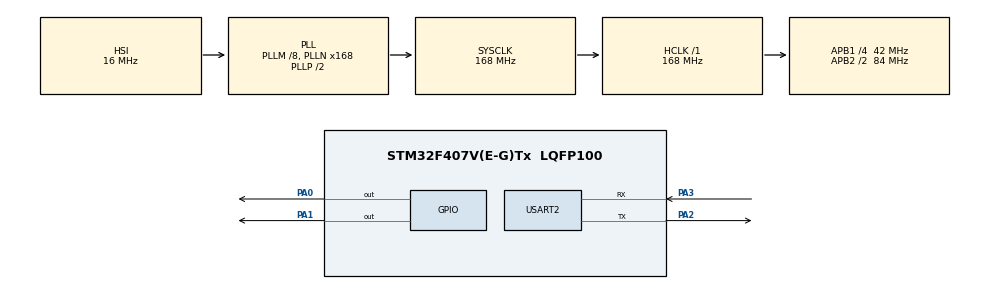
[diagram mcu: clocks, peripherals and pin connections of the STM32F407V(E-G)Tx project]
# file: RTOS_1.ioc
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FREERTOS.Tasks01=defaultTask,0,128,StartDefaultTask,Default,NULL,Dynamic,NULL,NULL;Task2,0,128,Task2_INIT,Default,NULL,Dynamic,NULL,NULL
Mcu.Family=STM32F4
Mcu.Name=STM32F407V(E-G)Tx
Mcu.Package=LQFP100
NVIC.PriorityGroup=NVIC_PRIORITYGROUP_4
NVIC.TIM1_UP_TIM10_IRQn=true\:15\:0\:false\:false\:true\:false\:false\:true
NVIC.TimeBase=TIM1_UP_TIM10_IRQn
NVIC.TimeBaseIP=TIM1
PA0-WKUP.Signal=GPIO_Output
PA1.Signal=GPIO_Output
PA2.Mode=Asynchronous
PA2.Signal=USART2_TX
PA3.Mode=Asynchronous
PA3.Signal=USART2_RX
PH0-OSC_IN.Mode=HSE-External-Oscillator
PH0-OSC_IN.Signal=RCC_OSC_IN
PH1-OSC_OUT.Mode=HSE-External-Oscillator
PH1-OSC_OUT.Signal=RCC_OSC_OUT
ProjectManager.HeapSize=0x200
ProjectManager.StackSize=0x400
ProjectManager.TargetToolchain=STM32CubeIDE
RCC.48MHZClocksFreq_Value=84000000
RCC.AHBFreq_Value=168000000
RCC.APB1CLKDivider=RCC_HCLK_DIV4
RCC.APB1Freq_Value=42000000
RCC.APB1TimFreq_Value=84000000
RCC.APB2CLKDivider=RCC_HCLK_DIV2
RCC.APB2Freq_Value=84000000
RCC.APB2TimFreq_Value=168000000
RCC.CortexFreq_Value=168000000
RCC.HCLKFreq_Value=168000000
RCC.HSE_VALUE=8000000
RCC.HSI_VALUE=16000000
RCC.LSE_VALUE=32768
RCC.PLLM=8
RCC.PLLN=168
RCC.SYSCLKFreq_VALUE=168000000
RCC.SYSCLKSource=RCC_SYSCLKSOURCE_PLLCLK
RCC.VCOOutputFreq_Value=336000000
USART2.VirtualMode=VM_ASYNC
VP_FREERTOS_VS_CMSIS_V1.Mode=CMSIS_V1
VP_SYS_VS_tim1.Mode=TIM1
board=custom

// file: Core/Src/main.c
/* USER CODE BEGIN Header */
/**
  ******************************************************************************
  * @file           : main.c
  * @brief          : Main program body
  ******************************************************************************
  * @attention
  *
  * Copyright (c) 2022 STMicroelectronics.
  * All rights reserved.
  *
  * This software is licensed under terms that can be found in the LICENSE file
  * in the root directory of this software component.
  * If no LICENSE file comes with this software, it is provided AS-IS.
  *
  ******************************************************************************
  */
/* USER CODE END Header */
#include "main.h"
#include "cmsis_os.h"

UART_HandleTypeDef huart2;

osThreadId defaultTaskHandle;
osThreadId Task2Handle;
/* USER CODE BEGIN PV */
osThreadId Task3Handle;
/* USER CODE END PV */

void SystemClock_Config(void);
static void MX_GPIO_Init(void);
static void MX_USART2_UART_Init(void);
void StartDefaultTask(void const * argument);
void Task2_INIT(void const * argument);

/* USER CODE BEGIN PFP */
void Task3_init (void const * argument);
/* USER CODE END PFP */

/* USER CODE BEGIN 0 */
void send_deftask(void){
	uint8_t data[] = "Hello from deftask\n";
	HAL_UART_Transmit(&huart2, data, sizeof(data),500);
}
void send_task2(void){
	uint8_t data[] = "Hello from Task2\n";
	HAL_UART_Transmit(&huart2, data, sizeof(data),500);
}
void send_task3(void){
	uint8_t data[] = "Hello from Task3\n";
	HAL_UART_Transmit(&huart2, data, sizeof(data),500);
}

/* USER CODE END 0 */

int main(void)
{

  /* MCU Configuration--------------------------------------------------------*/

  /* Reset of all peripherals, Initializes the Flash interface and the Systick. */
  HAL_Init();

  /* Configure the system clock */
  SystemClock_Config();

  /* Initialize all configured peripherals */
  MX_GPIO_Init();
  MX_USART2_UART_Init();

  /* Create the thread(s) */
  /* definition and creation of defaultTask */
  osThreadDef(defaultTask, StartDefaultTask, osPriorityNormal, 0, 128);
  defaultTaskHandle = osThreadCreate(osThread(defaultTask), NULL);

  /* definition and creation of Task2 */
  osThreadDef(Task2, Task2_INIT,osPriorityAboveNormal, 0, 128);
  Task2Handle = osThreadCreate(osThread(Task2), NULL);

  /* USER CODE BEGIN RTOS_THREADS */
  /* add threads, ... */
  osThreadDef(Task3,Task3_init,osPriorityBelowNormal,0,128);
  Task3Handle = osThreadCreate(osThread(Task3), NULL);
  /* USER CODE END RTOS_THREADS */

  /* Start scheduler */
  osKernelStart();

  /* We should never get here as control is now taken by the scheduler */
  /* Infinite loop */
  while (1)
  {

  }
}

void SystemClock_Config(void)
{
  RCC_OscInitTypeDef RCC_OscInitStruct = {0};
  RCC_ClkInitTypeDef RCC_ClkInitStruct = {0};

  /** Configure the main internal regulator output voltage
  */
  __HAL_RCC_PWR_CLK_ENABLE();
  __HAL_PWR_VOLTAGESCALING_CONFIG(PWR_REGULATOR_VOLTAGE_SCALE1);
  /** Initializes the RCC Oscillators according to the specified parameters
  * in the RCC_OscInitTypeDef structure.
  */
  RCC_OscInitStruct.OscillatorType = RCC_OSCILLATORTYPE_HSI;
  RCC_OscInitStruct.HSIState = RCC_HSI_ON;
  RCC_OscInitStruct.HSICalibrationValue = RCC_HSICALIBRATION_DEFAULT;
  RCC_OscInitStruct.PLL.PLLState = RCC_PLL_ON;
  RCC_OscInitStruct.PLL.PLLSource = RCC_PLLSOURCE_HSI;
  RCC_OscInitStruct.PLL.PLLM = 8;
  RCC_OscInitStruct.PLL.PLLN = 168;
  RCC_OscInitStruct.PLL.PLLP = RCC_PLLP_DIV2;
  RCC_OscInitStruct.PLL.PLLQ = 4;
  if (HAL_RCC_OscConfig(&RCC_OscInitStruct) != HAL_OK)
  {
    Error_Handler();
  }
  /** Initializes the CPU, AHB and APB buses clocks
  */
  RCC_ClkInitStruct.ClockType = RCC_CLOCKTYPE_HCLK|RCC_CLOCKTYPE_SYSCLK
                              |RCC_CLOCKTYPE_PCLK1|RCC_CLOCKTYPE_PCLK2;
  RCC_ClkInitStruct.SYSCLKSource = RCC_SYSCLKSOURCE_PLLCLK;
  RCC_ClkInitStruct.AHBCLKDivider = RCC_SYSCLK_DIV1;
  RCC_ClkInitStruct.APB1CLKDivider = RCC_HCLK_DIV4;
  RCC_ClkInitStruct.APB2CLKDivider = RCC_HCLK_DIV2;

  if (HAL_RCC_ClockConfig(&RCC_ClkInitStruct, FLASH_LATENCY_5) != HAL_OK)
  {
    Error_Handler();
  }
}

static void MX_USART2_UART_Init(void)
{

  huart2.Instance = USART2;
  huart2.Init.BaudRate = 115200;
  huart2.Init.WordLength = UART_WORDLENGTH_8B;
  huart2.Init.StopBits = UART_STOPBITS_1;
  huart2.Init.Parity = UART_PARITY_NONE;
  huart2.Init.Mode = UART_MODE_TX_RX;
  huart2.Init.HwFlowCtl = UART_HWCONTROL_NONE;
  huart2.Init.OverSampling = UART_OVERSAMPLING_16;
  if (HAL_UART_Init(&huart2) != HAL_OK)
  {
    Error_Handler();
  }

}

static void MX_GPIO_Init(void)
{
  GPIO_InitTypeDef GPIO_InitStruct = {0};

  /* GPIO Ports Clock Enable */
  __HAL_RCC_GPIOH_CLK_ENABLE();
  __HAL_RCC_GPIOA_CLK_ENABLE();

  /*Configure GPIO pin Output Level */
  HAL_GPIO_WritePin(GPIOA, GPIO_PIN_0|GPIO_PIN_1, GPIO_PIN_RESET);

  /*Configure GPIO pins : PA0 PA1 */
  GPIO_InitStruct.Pin = GPIO_PIN_0|GPIO_PIN_1;
  GPIO_InitStruct.Mode = GPIO_MODE_OUTPUT_PP;
  GPIO_InitStruct.Pull = GPIO_NOPULL;
  GPIO_InitStruct.Speed = GPIO_SPEED_FREQ_LOW;
  HAL_GPIO_Init(GPIOA, &GPIO_InitStruct);

}

void StartDefaultTask(void const * argument)
{
  /* USER CODE BEGIN 5 */
  /* Infinite loop */
  for(;;)
  {
	  //HAL_GPIO_TogglePin(GPIOA, GPIO_PIN_0) ;
	  send_deftask();

    osDelay(1000);
  }
  /* USER CODE END 5 */
}

void Task2_INIT(void const * argument)
{
  /* USER CODE BEGIN Task2_INIT */
  /* Infinite loop */
  for(;;)
  {
	  //HAL_GPIO_TogglePin(GPIOA, GPIO_PIN_1) ;
	  send_task2();

    osDelay(1000);
  }
  /* USER CODE END Task2_INIT */
}
void Task3_init (void const * argument){

		while(1)
		{
			send_task3();
			osDelay(1000);
		}
}
void HAL_TIM_PeriodElapsedCallback(TIM_HandleTypeDef *htim)
{
  if (htim->Instance == TIM1) {
    HAL_IncTick();
  }
}

void Error_Handler(void)
{
  __disable_irq();
  while (1)
  {
  }
}
